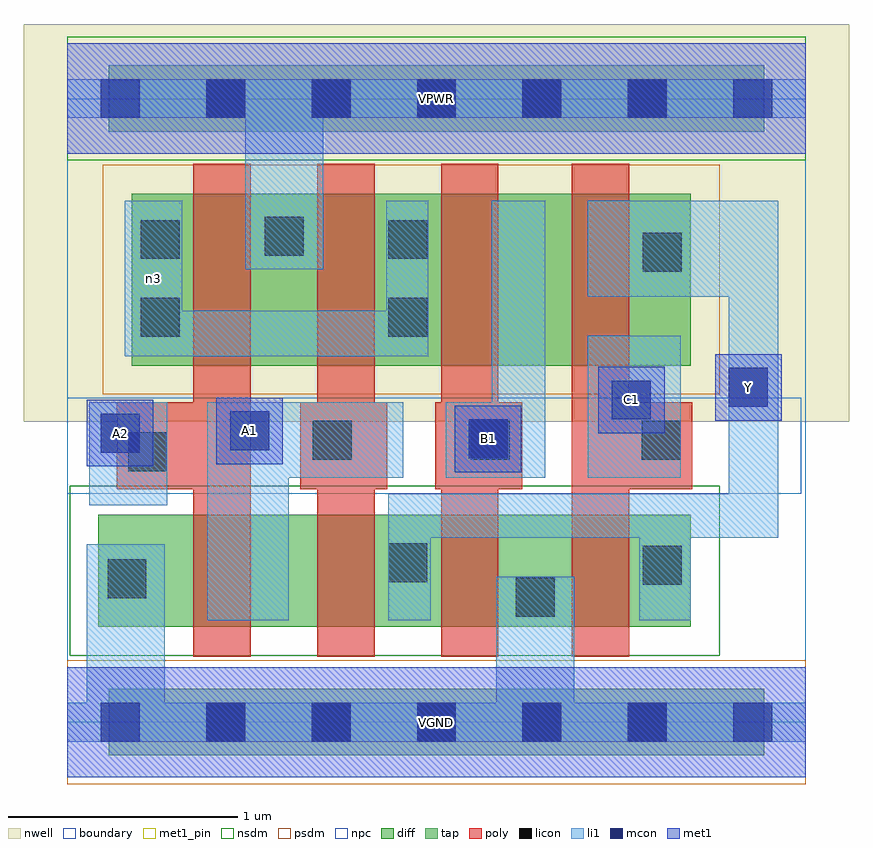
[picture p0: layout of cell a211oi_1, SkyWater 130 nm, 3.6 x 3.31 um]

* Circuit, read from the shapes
.subckt a211oi_1 A1 A2 B1 C1 VGND VPWR Y n3
XM1 n1 A2 VGND VGND sky130_fd_pr__nfet_01v8 w=0.49 l=0.25
XM2 Y A1 n1 VGND sky130_fd_pr__nfet_01v8 w=0.49 l=0.25
XM3 VGND B1 Y VGND sky130_fd_pr__nfet_01v8 w=0.49 l=0.25
XM4 Y C1 VGND VGND sky130_fd_pr__nfet_01v8 w=0.49 l=0.25
XM5 VPWR A2 n3 VPWR sky130_fd_pr__pfet_01v8 w=0.75 l=0.25
XM6 n3 A1 VPWR VPWR sky130_fd_pr__pfet_01v8 w=0.75 l=0.25
XM7 n2 B1 n3 VPWR sky130_fd_pr__pfet_01v8 w=0.75 l=0.25
XM8 Y C1 n2 VPWR sky130_fd_pr__pfet_01v8 w=0.75 l=0.25
.ends

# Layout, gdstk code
import gdstk
lib = gdstk.Library(unit=1e-6, precision=1e-09)
def R(c, l, rs):  # rectangles x0, y0, x1, y1
    for r in rs: c.add(gdstk.rectangle(r[:2], r[2:], *l))
def A(c, l, x, y, w, h, nx, ny, dx, dy):  # array of equal rectangles
    R(c, l, [(x+i*dx, y+j*dy, x+i*dx+w, y+j*dy+h) for i in range(nx) for j in range(ny)])
nwell = (64, 20)
diff = (65, 20)
tap = (65, 44)
poly = (66, 20)
licon = (66, 44)
li1 = (67, 20)
mcon = (67, 44)
met1_pin = (68, 16)
met1 = (68, 20)
nsdm = (93, 44)
psdm = (94, 20)
npc = (95, 20)
boundary = (235, 4)

a211oi_1 = lib.new_cell('a211oi_1')
R(a211oi_1, nwell, [(-0.19,1.31,3.41,3.045), (0,1.31,3.22,3.045)])
R(a211oi_1, diff, [(0.135,0.415,2.72,0.905), (0.28,1.555,2.72,2.305)])
R(a211oi_1, tap, [(0.18,-0.145,3.04,0.145), (0.18,2.575,3.04,2.865)])
A(a211oi_1, poly, 0.55, 0.285, 0.25, 2.15, 3, 1, 0.54, 0)
R(a211oi_1, poly, [(2.2,0.285,2.45,2.435), (0.215,1.015,0.8,1.395), (1.015,1.015,1.395,1.395), (1.605,1.015,1.985,1.395), (2.2,1.015,2.725,1.395)])
A(a211oi_1, licon, 0.605, -0.085, 0.17, 0.17, 5, 2, 0.46, 2.72)
R(a211oi_1, licon, [(1.955,0.46,2.125,0.63), (0.175,0.54,0.345,0.71), (2.51,0.6,2.68,0.77), (1.4,0.61,1.57,0.78), (0.265,1.095,0.435,1.265), (1.07,1.145,1.24,1.315), (1.76,1.145,1.93,1.315), (2.505,1.145,2.675,1.315), (0.32,1.68,0.49,1.85), (1.4,1.68,1.57,1.85), (2.51,1.965,2.68,2.135), (0.32,2.02,0.49,2.19), (1.4,2.02,1.57,2.19), (0.86,2.035,1.03,2.205)])
R(a211oi_1, li1, [(0,-0.085,3.22,0.085), (0.085,-0.085,0.425,0.775), (1.87,-0.085,2.21,0.635), (0.61,0.445,0.965,1.395), (1.4,0.445,1.585,0.995), (2.495,0.445,2.72,0.995), (1.4,0.805,3.1,0.995), (2.885,0.805,3.1,2.275), (0.095,0.945,0.435,1.395), (0.61,1.065,1.465,1.395), (1.65,1.065,2.085,1.395), (1.85,1.065,2.085,2.275), (2.27,1.065,2.675,1.685), (0.25,1.595,0.5,2.275), (0.25,1.595,1.575,1.795), (1.39,1.595,1.575,2.275), (2.27,1.855,3.1,2.275), (0.775,1.975,1.115,2.805), (0,2.635,3.22,2.805)])
A(a211oi_1, mcon, 0.145, -0.085, 0.17, 0.17, 7, 2, 0.46, 2.72)
R(a211oi_1, mcon, [(1.75,1.15,1.92,1.32), (0.145,1.175,0.315,1.345), (0.71,1.185,0.88,1.355), (2.375,1.32,2.545,1.49), (2.885,1.375,3.055,1.545)])
R(a211oi_1, met1_pin, [(0,-0.24,3.22,0.24), (1.69,1.09,1.98,1.38), (0.085,1.115,0.375,1.405), (0.65,1.125,0.94,1.415), (2.315,1.26,2.605,1.55), (2.825,1.315,3.115,1.605), (0,2.48,3.22,2.96)])
R(a211oi_1, met1, [(0,-0.24,3.22,0.24), (1.69,1.09,1.98,1.38), (0.085,1.115,0.375,1.405), (0.65,1.125,0.94,1.415), (2.315,1.26,2.605,1.55), (2.825,1.315,3.115,1.605), (0,2.48,3.22,2.96)])
R(a211oi_1, nsdm, [(0.01,0.29,2.845,1.03), (0,2.45,3.22,2.99)])
R(a211oi_1, psdm, [(0,-0.27,3.22,0.27), (0.155,1.43,2.845,2.43)])
R(a211oi_1, npc, [(0,0.995,3.2,1.415)])
R(a211oi_1, boundary, [(0,0,3.22,2.72)])
a211oi_1.add(gdstk.Label('n3', (0.375,1.935), layer=67, texttype=5))
a211oi_1.add(gdstk.Label('A1', (0.795,1.27), layer=68, texttype=5))
a211oi_1.add(gdstk.Label('A2', (0.23,1.26), layer=68, texttype=5))
a211oi_1.add(gdstk.Label('B1', (1.835,1.235), layer=68, texttype=5))
a211oi_1.add(gdstk.Label('C1', (2.46,1.405), layer=68, texttype=5))
a211oi_1.add(gdstk.Label('Y', (2.97,1.46), layer=68, texttype=5))
a211oi_1.add(gdstk.Label('VPWR', (1.61,2.72), layer=68, texttype=5))
a211oi_1.add(gdstk.Label('VGND', (1.61,0), layer=68, texttype=5))
a211oi_1.add(gdstk.Label('A1', (0.795,1.27), layer=68, texttype=16))
a211oi_1.add(gdstk.Label('A2', (0.23,1.26), layer=68, texttype=16))
a211oi_1.add(gdstk.Label('B1', (1.835,1.235), layer=68, texttype=16))
a211oi_1.add(gdstk.Label('C1', (2.46,1.405), layer=68, texttype=16))
a211oi_1.add(gdstk.Label('Y', (2.97,1.46), layer=68, texttype=16))
a211oi_1.add(gdstk.Label('VPWR', (1.61,2.72), layer=68, texttype=16))
a211oi_1.add(gdstk.Label('VGND', (1.61,0), layer=68, texttype=16))

lib.write_gds('a211oi_1.gds')
